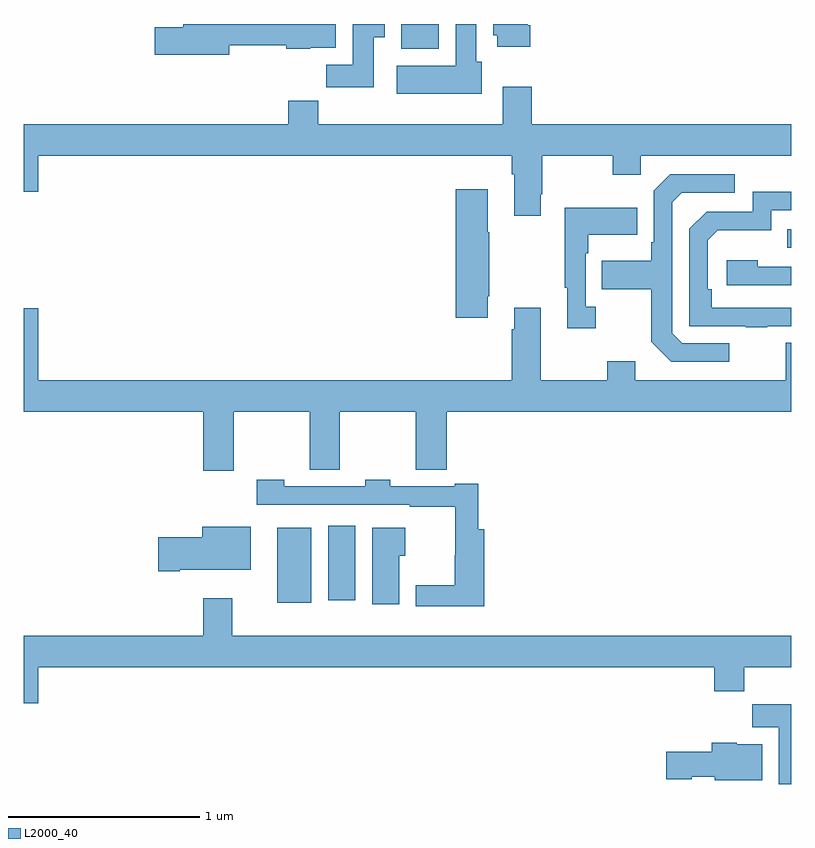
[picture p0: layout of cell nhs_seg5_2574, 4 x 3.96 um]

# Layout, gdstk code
import gdstk
lib = gdstk.Library(unit=1e-6, precision=1e-09)
def R(c, l, rs):  # rectangles x0, y0, x1, y1
    for r in rs: c.add(gdstk.rectangle(r[:2], r[2:], *l))
def P(c, l, *ps):  # polygons
    for p in ps: c.add(gdstk.Polygon(p, *l))
L2000_40 = (2000, 40)

nhs_seg5_2574 = lib.new_cell('nhs_seg5_2574')
R(nhs_seg5_2574, L2000_40, [(262.322,835.784,262.498,836.176), (262.586,835.796,262.729,836.185), (264.979,837.633,265,837.729), (262.967,838.67,263.164,838.799)])
P(nhs_seg5_2574, L2000_40, [(262.072,838.689),(262.369,838.689),(262.369,838.67),(262.494,838.67),(262.494,838.676),(262.627,838.676),(262.627,838.799),(261.833,838.799),(261.833,838.781),(261.684,838.781),(261.684,838.639),(262.072,838.639)],
  [(263.639,838.792),(263.626,838.792),(263.626,838.799),(263.447,838.799),(263.447,838.74),(263.468,838.74),(263.468,838.68),(263.639,838.68)],
  [(263.386,838.602),(263.359,838.602),(263.359,838.799),(263.252,838.799),(263.252,838.582),(262.943,838.582),(262.943,838.436),(263.386,838.436)],
  [(262.825,838.729),(262.882,838.729),(262.882,838.799),(262.715,838.799),(262.715,838.588),(262.576,838.588),(262.576,838.47),(262.825,838.47)],
  [(263.695,837.913),(263.703,837.913),(263.703,838.112),(264.07,838.112),(264.07,838.013),(264.216,838.013),(264.216,838.112),(265,838.112),(265,838.276),(263.648,838.276),(263.648,838.471),(263.495,838.471),(263.495,838.276),(262.535,838.276),(262.535,838.4),(262.379,838.4),(262.379,838.276),(261,838.276),(261,837.924),(261.076,837.924),(261.076,838.112),(263.543,838.112),(263.543,838.016),(263.555,838.016),(263.555,837.801),(263.695,837.801)],
  [(264.676,837.135),(264.432,837.135),(264.378,837.189),(264.378,837.87),(264.429,837.921),(264.706,837.921),(264.706,838.017),(264.369,838.017),(264.282,837.93),(264.282,837.661),(264.27,837.661),(264.27,837.565),(264.013,837.565),(264.013,837.418),(264.27,837.418),(264.27,837.145),(264.375,837.039),(264.676,837.039)],
  [(263.419,837.382),(263.427,837.382),(263.427,837.713),(263.419,837.713),(263.419,837.937),(263.252,837.937),(263.252,837.27),(263.419,837.27)],
  [(264.875,837.225),(265,837.225),(265,837.321),(264.584,837.321),(264.584,837.418),(264.564,837.418),(264.564,837.672),(264.617,837.725),(264.894,837.725),(264.894,837.828),(265,837.828),(265,837.924),(264.798,837.924),(264.798,837.822),(264.558,837.822),(264.468,837.732),(264.468,837.225),(264.763,837.225),(264.763,837.22),(264.875,837.22)],
  [(263.98,837.326),(263.928,837.326),(263.928,837.605),(263.941,837.605),(263.941,837.701),(264.197,837.701),(264.197,837.841),(263.82,837.841),(263.82,837.425),(263.831,837.425),(263.831,837.213),(263.98,837.213)],
  [(265,837.534),(264.824,837.534),(264.824,837.568),(264.663,837.568),(264.663,837.438),(265,837.438)],
  [(262.095,836.78),(262.492,836.78),(262.492,836.476),(262.646,836.476),(262.646,836.78),(263.044,836.78),(263.044,836.476),(263.204,836.476),(263.204,836.78),(265,836.78),(265,837.139),(264.971,837.139),(264.971,836.944),(264.187,836.944),(264.187,837.043),(264.04,837.043),(264.04,836.944),(263.695,836.944),(263.695,837.322),(263.555,837.322),(263.555,837.209),(263.543,837.209),(263.543,836.944),(261.076,836.944),(261.076,837.319),(261,837.319),(261,836.78),(261.935,836.78),(261.935,836.472),(262.095,836.472)],
  [(263.399,836.167),(263.369,836.167),(263.369,836.404),(263.246,836.404),(263.246,836.391),(262.911,836.391),(262.911,836.424),(262.779,836.424),(262.779,836.391),(262.359,836.391),(262.359,836.424),(262.215,836.424),(262.215,836.295),(263.011,836.295),(263.011,836.283),(263.248,836.283),(263.248,836.031),(263.246,836.031),(263.246,835.876),(263.043,835.876),(263.043,835.766),(263.399,835.766)],
  [(261.814,835.955),(262.183,835.955),(262.183,836.179),(261.932,836.179),(261.932,836.126),(261.702,836.126),(261.702,835.948),(261.814,835.948)],
  [(262.957,836.029),(262.987,836.029),(262.987,836.176),(262.817,836.176),(262.817,835.776),(262.957,835.776)],
  [(261.076,835.448),(264.599,835.448),(264.599,835.324),(264.755,835.324),(264.755,835.448),(265,835.448),(265,835.612),(262.087,835.612),(262.087,835.807),(261.935,835.807),(261.935,835.612),(261,835.612),(261,835.26),(261.076,835.26)],
  [(265,835.255),(264.796,835.255),(264.796,835.136),(264.935,835.136),(264.935,834.84),(265,834.84)],
  [(264.847,835.048),(264.714,835.048),(264.714,835.054),(264.584,835.054),(264.584,835.008),(264.348,835.008),(264.348,834.866),(264.48,834.866),(264.48,834.878),(264.6,834.878),(264.6,834.86),(264.847,834.86)])

lib.write_gds('nhs_seg5_2574.gds')
